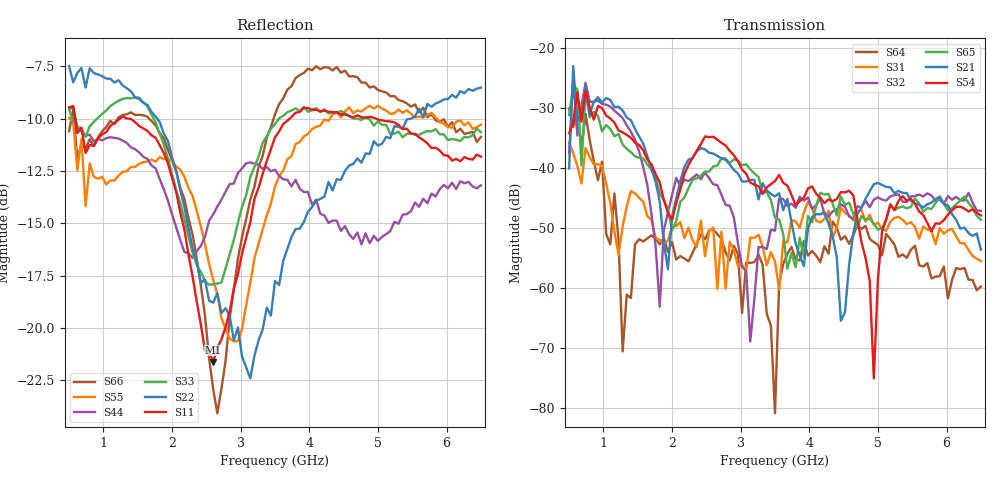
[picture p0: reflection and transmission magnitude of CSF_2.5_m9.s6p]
!Keysight Technologies,M9804A,MY58100912,A.14.10.03
!Date: Thursday, April 27, 2023 10:28:33
!Correction: S11(C  6-Port  )
!S12(C  6-Port  )
!S13(C  6-Port  )
!S14(C  6-Port  )
!S15(C  6-Port  )
!S16(C  6-Port  )
!S21(C  6-Port  )
!S22(C  6-Port  )
!S23(C  6-Port  )
!S24(C  6-Port  )
!S25(C  6-Port  )
!S26(C  6-Port  )
!S31(C  6-Port  )
!S32(C  6-Port  )
!S33(C  6-Port  )
!S34(C  6-Port  )
!S35(C  6-Port  )
!S36(C  6-Port  )
!S41(C  6-Port  )
!S42(C  6-Port  )
!S43(C  6-Port  )
!S44(C  6-Port  )
!S45(C  6-Port  )
!S46(C  6-Port  )
!S51(C  6-Port  )
!S52(C  6-Port  )
!S53(C  6-Port  )
!S54(C  6-Port  )
!S55(C  6-Port  )
!S56(C  6-Port  )
!S61(C  6-Port  )
!S62(C  6-Port  )
!S63(C  6-Port  )
!S64(C  6-Port  )
!S65(C  6-Port  )
!S66(C  6-Port  )
!S6P File: Measurement: :
# Hz S  RI  R 50
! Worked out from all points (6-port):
!   101 points, 500 MHz to 6.5 GHz, reference 50 ohm
!   strongest paths, dB at 500 MHz, 2 GHz, 3.5 GHz, 5 GHz, 6.5 GHz:
!     S54: -34.2, -48.7, -42.2, -58.4, -47.9
!     S21: -40.1, -48.2, -44.8, -42.5, -53.6
!     S65: -31.2, -50.4, -48.3, -50.3, -48.6
!     S32: -37.6, -44.5, -50.4, -44.9, -47.1
!     S31: -35.8, -49.9, -55.6, -49.1, -55.5
!     S64: -30.1, -52.4, -80.8, -52.8, -59.7
!   lowest |S11| = -21.6 dB at 2.6 GHz (marker M1), VSWR 1.18, Z = 42.6 + j1.99 ohm
!   |S11| at or under -10 dB: 587.8 MHz to 1.242 GHz (654.5 MHz wide, 71.5 % of centre); 1.357 GHz to 3.715 GHz (2.357 GHz wide, 92.9 % of centre); 4.97 GHz to end of sweep
